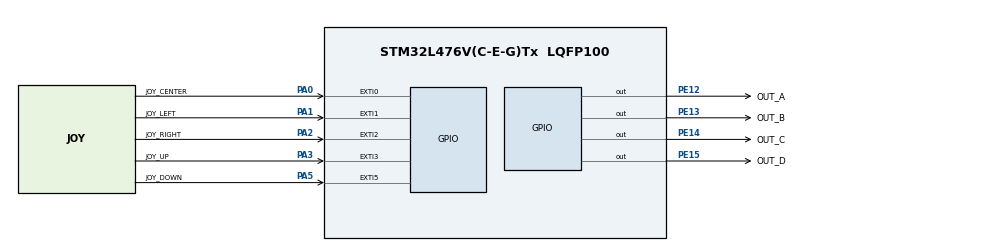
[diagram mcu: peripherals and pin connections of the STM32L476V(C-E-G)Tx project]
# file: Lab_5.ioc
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Mcu.Family=STM32L4
RCC.MSI_VALUE=4000000
PA2.GPIO_PuPd=GPIO_PULLDOWN
RCC.CortexFreq_Value=4000000
PA3.GPIO_PuPd=GPIO_PULLDOWN
PA0.GPIO_Label=JOY_CENTER
NVIC.EXTI3_IRQn=true\:0\:0\:false\:false\:true\:true\:true
PE14.GPIO_Label=OUT_C
ProjectManager.StackSize=0x400
NVIC.EXTI1_IRQn=true\:0\:0\:false\:false\:true\:true\:true
PE15.GPIO_Label=OUT_D
ProjectManager.TargetToolchain=MDK-ARM V5.27
TIM3.Period=8541
RCC.LSE_VALUE=32768
PA1.GPIO_PuPd=GPIO_PULLDOWN
PA1.Signal=GPXTI1
RCC.PREFETCH_ENABLE=1
PA5.Signal=GPXTI5
RCC.HSE_VALUE=8000000
board=STM32L476G-DISCO
RCC.VCOOutputFreq_Value=32000000
NVIC.TIM3_IRQn=true\:0\:0\:false\:false\:true\:true\:true
PE14.Signal=GPIO_Output
PE13.Signal=GPIO_Output
PE15.Signal=GPIO_Output
TIM3.Prescaler=399
PA5.GPIO_PuPd=GPIO_PULLDOWN
PA1.GPIO_Label=JOY_LEFT
Mcu.Name=STM32L476V(C-E-G)Tx
PE12.Signal=GPIO_Output
PA2.Signal=GPXTI2
PA0.Signal=GPXTI0
NVIC.EXTI0_IRQn=true\:0\:0\:false\:false\:true\:true\:true
Mcu.Package=LQFP100
PE13.GPIO_Label=OUT_B
PA5.GPIO_Label=JOY_DOWN
PA2.GPIO_Label=JOY_RIGHT
NVIC.EXTI9_5_IRQn=true\:0\:0\:false\:false\:true\:true\:true
PE12.GPIO_Label=OUT_A
ProjectManager.HeapSize=0x200
RCC.HSI_VALUE=16000000
NVIC.PriorityGroup=NVIC_PRIORITYGROUP_4
NVIC.EXTI2_IRQn=true\:0\:0\:false\:false\:true\:true\:true
VP_TIM3_VS_ClockSourceINT.Mode=Internal
PA3.GPIO_Label=JOY_UP
PA3.Signal=GPXTI3

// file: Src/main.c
/* USER CODE BEGIN Header */
/**
  ******************************************************************************
  * @file           : main.c
  * @brief          : Main program body
  ******************************************************************************
  * @attention
  *
  * <h2><center>&copy; Copyright (c) 2020 STMicroelectronics.
  * All rights reserved.</center></h2>
  *
  * This software component is licensed by ST under BSD 3-Clause license,
  * the "License"; You may not use this file except in compliance with the
  * License. You may obtain a copy of the License at:
  *                        opensource.org/licenses/BSD-3-Clause
  *
  ******************************************************************************
  */
/* USER CODE END Header */
#include "main.h"

/* USER CODE BEGIN Includes */
#include <stdio.h>
/* USER CODE END Includes */

/* USER CODE BEGIN PTD */

typedef enum state{
	CW,
	CW_HALF,
	CCW,
	CCW_HALF
}state ;

/* USER CODE END PTD */

TIM_HandleTypeDef htim3;

/* USER CODE BEGIN PV */
char lcd_buffer[6];
state STATE;						//state
uint16_t phase_count;						//counts cycles

/* USER CODE END PV */

void SystemClock_Config(void);
static void MX_GPIO_Init(void);
static void MX_TIM3_Init(void);
/* USER CODE BEGIN PFP */
void cw_or_ccw_state(void);
void cw_half_or_ccw_half_state(void);
/* USER CODE END PFP */

int main(void)
{

  /* MCU Configuration--------------------------------------------------------*/

  /* Reset of all peripherals, Initializes the Flash interface and the Systick. */
  HAL_Init();

  /* Configure the system clock */
  SystemClock_Config();

  /* Initialize all configured peripherals */
  MX_GPIO_Init();
  MX_TIM3_Init();
  /* USER CODE BEGIN 2 */
	BSP_LCD_GLASS_Init();

	STATE = CW;
	phase_count = 3; 							//start at 3 because increment will make it 0

	HAL_GPIO_WritePin(GPIOE,OUT_A_Pin,GPIO_PIN_RESET);
	HAL_GPIO_WritePin(GPIOE,OUT_B_Pin,GPIO_PIN_RESET);
	HAL_GPIO_WritePin(GPIOE,OUT_C_Pin,GPIO_PIN_RESET);
	HAL_GPIO_WritePin(GPIOE,OUT_D_Pin,GPIO_PIN_RESET);

  /* USER CODE END 2 */

  /* Infinite loop */
  while (1)
  {

  }
}

void SystemClock_Config(void)
{
  RCC_OscInitTypeDef RCC_OscInitStruct = {0};
  RCC_ClkInitTypeDef RCC_ClkInitStruct = {0};

  /** Initializes the RCC Oscillators according to the specified parameters
  * in the RCC_OscInitTypeDef structure.
  */
  RCC_OscInitStruct.OscillatorType = RCC_OSCILLATORTYPE_MSI;
  RCC_OscInitStruct.MSIState = RCC_MSI_ON;
  RCC_OscInitStruct.MSICalibrationValue = 0;
  RCC_OscInitStruct.MSIClockRange = RCC_MSIRANGE_6;
  RCC_OscInitStruct.PLL.PLLState = RCC_PLL_NONE;
  if (HAL_RCC_OscConfig(&RCC_OscInitStruct) != HAL_OK)
  {
    Error_Handler();
  }
  /** Initializes the CPU, AHB and APB buses clocks
  */
  RCC_ClkInitStruct.ClockType = RCC_CLOCKTYPE_HCLK|RCC_CLOCKTYPE_SYSCLK
                              |RCC_CLOCKTYPE_PCLK1|RCC_CLOCKTYPE_PCLK2;
  RCC_ClkInitStruct.SYSCLKSource = RCC_SYSCLKSOURCE_MSI;
  RCC_ClkInitStruct.AHBCLKDivider = RCC_SYSCLK_DIV1;
  RCC_ClkInitStruct.APB1CLKDivider = RCC_HCLK_DIV1;
  RCC_ClkInitStruct.APB2CLKDivider = RCC_HCLK_DIV1;

  if (HAL_RCC_ClockConfig(&RCC_ClkInitStruct, FLASH_LATENCY_0) != HAL_OK)
  {
    Error_Handler();
  }
  /** Configure the main internal regulator output voltage
  */
  if (HAL_PWREx_ControlVoltageScaling(PWR_REGULATOR_VOLTAGE_SCALE1) != HAL_OK)
  {
    Error_Handler();
  }
}

static void MX_TIM3_Init(void)
{

  TIM_ClockConfigTypeDef sClockSourceConfig = {0};
  TIM_MasterConfigTypeDef sMasterConfig = {0};

  htim3.Instance = TIM3;
  htim3.Init.Prescaler = 399;
  htim3.Init.CounterMode = TIM_COUNTERMODE_UP;
  htim3.Init.Period = 8541;
  htim3.Init.ClockDivision = TIM_CLOCKDIVISION_DIV1;
  htim3.Init.AutoReloadPreload = TIM_AUTORELOAD_PRELOAD_ENABLE;
  if (HAL_TIM_Base_Init(&htim3) != HAL_OK)
  {
    Error_Handler();
  }
  sClockSourceConfig.ClockSource = TIM_CLOCKSOURCE_INTERNAL;
  if (HAL_TIM_ConfigClockSource(&htim3, &sClockSourceConfig) != HAL_OK)
  {
    Error_Handler();
  }
  sMasterConfig.MasterOutputTrigger = TIM_TRGO_RESET;
  sMasterConfig.MasterSlaveMode = TIM_MASTERSLAVEMODE_DISABLE;
  if (HAL_TIMEx_MasterConfigSynchronization(&htim3, &sMasterConfig) != HAL_OK)
  {
    Error_Handler();
  }
  /* USER CODE BEGIN TIM3_Init 2 */
	if(HAL_TIM_Base_Start_IT(&htim3) != HAL_OK) {
		 //Starting Error
		Error_Handler();
	}
  /* USER CODE END TIM3_Init 2 */

}

static void MX_GPIO_Init(void)
{
  GPIO_InitTypeDef GPIO_InitStruct = {0};

  /* GPIO Ports Clock Enable */
  __HAL_RCC_GPIOA_CLK_ENABLE();
  __HAL_RCC_GPIOE_CLK_ENABLE();

  /*Configure GPIO pin Output Level */
  HAL_GPIO_WritePin(GPIOE, OUT_A_Pin|OUT_B_Pin|OUT_C_Pin|OUT_D_Pin, GPIO_PIN_RESET);

  /*Configure GPIO pin : JOY_CENTER_Pin */
  GPIO_InitStruct.Pin = JOY_CENTER_Pin;
  GPIO_InitStruct.Mode = GPIO_MODE_IT_RISING;
  GPIO_InitStruct.Pull = GPIO_NOPULL;
  HAL_GPIO_Init(JOY_CENTER_GPIO_Port, &GPIO_InitStruct);

  /*Configure GPIO pins : JOY_LEFT_Pin JOY_RIGHT_Pin JOY_UP_Pin JOY_DOWN_Pin */
  GPIO_InitStruct.Pin = JOY_LEFT_Pin|JOY_RIGHT_Pin|JOY_UP_Pin|JOY_DOWN_Pin;
  GPIO_InitStruct.Mode = GPIO_MODE_IT_RISING;
  GPIO_InitStruct.Pull = GPIO_PULLDOWN;
  HAL_GPIO_Init(GPIOA, &GPIO_InitStruct);

  /*Configure GPIO pins : OUT_A_Pin OUT_B_Pin OUT_C_Pin OUT_D_Pin */
  GPIO_InitStruct.Pin = OUT_A_Pin|OUT_B_Pin|OUT_C_Pin|OUT_D_Pin;
  GPIO_InitStruct.Mode = GPIO_MODE_OUTPUT_PP;
  GPIO_InitStruct.Pull = GPIO_NOPULL;
  GPIO_InitStruct.Speed = GPIO_SPEED_FREQ_LOW;
  HAL_GPIO_Init(GPIOE, &GPIO_InitStruct);

  /* EXTI interrupt init*/
  HAL_NVIC_SetPriority(EXTI0_IRQn, 0, 0);
  HAL_NVIC_EnableIRQ(EXTI0_IRQn);

  HAL_NVIC_SetPriority(EXTI1_IRQn, 0, 0);
  HAL_NVIC_EnableIRQ(EXTI1_IRQn);

  HAL_NVIC_SetPriority(EXTI2_IRQn, 0, 0);
  HAL_NVIC_EnableIRQ(EXTI2_IRQn);

  HAL_NVIC_SetPriority(EXTI3_IRQn, 0, 0);
  HAL_NVIC_EnableIRQ(EXTI3_IRQn);

  HAL_NVIC_SetPriority(EXTI9_5_IRQn, 0, 0);
  HAL_NVIC_EnableIRQ(EXTI9_5_IRQn);

}

/* USER CODE BEGIN 4 */

void HAL_TIM_PeriodElapsedCallback(TIM_HandleTypeDef *htim){
	if ((*htim).Instance==TIM3)	{										//tim3 clock

		switch(STATE){
			case CW:
				phase_count = (phase_count+1)%4;							//count forwards
				cw_or_ccw_state();
				break;

			case CW_HALF:
				phase_count = (phase_count+1)%8;
				cw_half_or_ccw_half_state();
				break;

			case CCW:
				phase_count--;							//count backwards
				if(phase_count>3) phase_count = 3;
				cw_or_ccw_state();
				break;

			case CCW_HALF:
				phase_count--;							//count backwards
				if(phase_count>7) phase_count = 7;
				cw_half_or_ccw_half_state();
				break;

		}

		sprintf(lcd_buffer,"%u",phase_count+1);
		BSP_LCD_GLASS_Clear();
		BSP_LCD_GLASS_DisplayString((uint8_t*)lcd_buffer);					//display phase
	}
}

void HAL_GPIO_EXTI_Callback(uint16_t GPIO_Pin) {							//buffer button pressed
	switch(GPIO_Pin) {

		case GPIO_PIN_0:					//SELECT
			if(STATE==CW) 						STATE = CCW;
			else if(STATE==CCW) 			STATE = CW;
		  else if(STATE==CW_HALF)		STATE = CCW_HALF;
			else if(STATE==CCW_HALF)	STATE = CW_HALF;

			break;

		case GPIO_PIN_1:					//LEFT
			if(STATE==CW) 						STATE = CW_HALF;
			else if(STATE==CW_HALF) 	STATE = CW;
		  else if(STATE==CCW)				STATE = CCW_HALF;
			else if(STATE==CCW_HALF)	STATE = CCW;

			if(STATE == CW || STATE == CCW)  htim3.Init.Period *= 2;									//state changed to CW or CCW, double the period
			else htim3.Init.Period /= 2;																							//state changed to CW_HALF or CCW_HALF, half the period
			if (HAL_TIM_Base_Init(&htim3) != HAL_OK) Error_Handler();

		 break;

		case GPIO_PIN_2:					//RIGHT
			break;

		case GPIO_PIN_3:					//UP
			if(htim3.Init.Period > 1000) htim3.Init.Period -= 1000;										//speed up, decrease period
			if (HAL_TIM_Base_Init(&htim3) != HAL_OK) Error_Handler();
			break;

		case GPIO_PIN_5:					//DOWN
			htim3.Init.Period += 1000;																							//decrease speed, increase period
			if (HAL_TIM_Base_Init(&htim3) != HAL_OK) Error_Handler();
			break;
	}
}

void cw_or_ccw_state(void){																//pin order for CW or CCW

	switch(phase_count){
		case 0:
			HAL_GPIO_WritePin(GPIOE,OUT_A_Pin,GPIO_PIN_SET);					//1
			HAL_GPIO_WritePin(GPIOE,OUT_B_Pin,GPIO_PIN_RESET);
			HAL_GPIO_WritePin(GPIOE,OUT_C_Pin,GPIO_PIN_SET);
			HAL_GPIO_WritePin(GPIOE,OUT_D_Pin,GPIO_PIN_RESET);
			break;
		case 1:
			HAL_GPIO_WritePin(GPIOE,OUT_A_Pin,GPIO_PIN_SET);				//2
			HAL_GPIO_WritePin(GPIOE,OUT_B_Pin,GPIO_PIN_RESET);
			HAL_GPIO_WritePin(GPIOE,OUT_C_Pin,GPIO_PIN_RESET);
			HAL_GPIO_WritePin(GPIOE,OUT_D_Pin,GPIO_PIN_SET);
			break;
		case 2:
			HAL_GPIO_WritePin(GPIOE,OUT_A_Pin,GPIO_PIN_RESET);				//3
			HAL_GPIO_WritePin(GPIOE,OUT_B_Pin,GPIO_PIN_SET);
			HAL_GPIO_WritePin(GPIOE,OUT_C_Pin,GPIO_PIN_RESET);
			HAL_GPIO_WritePin(GPIOE,OUT_D_Pin,GPIO_PIN_SET);
			break;
		case 3:
			HAL_GPIO_WritePin(GPIOE,OUT_A_Pin,GPIO_PIN_RESET);				//4
			HAL_GPIO_WritePin(GPIOE,OUT_B_Pin,GPIO_PIN_SET);
			HAL_GPIO_WritePin(GPIOE,OUT_C_Pin,GPIO_PIN_SET);
			HAL_GPIO_WritePin(GPIOE,OUT_D_Pin,GPIO_PIN_RESET);
			break;
	}
}

void cw_half_or_ccw_half_state(void){																//pin order for CW_HALF or CCW_HALF

	switch(phase_count){
		case 0:
			HAL_GPIO_WritePin(GPIOE,OUT_A_Pin,GPIO_PIN_SET);					//1
			HAL_GPIO_WritePin(GPIOE,OUT_B_Pin,GPIO_PIN_RESET);
			HAL_GPIO_WritePin(GPIOE,OUT_C_Pin,GPIO_PIN_SET);
			HAL_GPIO_WritePin(GPIOE,OUT_D_Pin,GPIO_PIN_RESET);
			break;
		case 1:
			HAL_GPIO_WritePin(GPIOE,OUT_A_Pin,GPIO_PIN_SET);				//2
			HAL_GPIO_WritePin(GPIOE,OUT_B_Pin,GPIO_PIN_RESET);
			HAL_GPIO_WritePin(GPIOE,OUT_C_Pin,GPIO_PIN_RESET);
			HAL_GPIO_WritePin(GPIOE,OUT_D_Pin,GPIO_PIN_RESET);
			break;
		case 2:
			HAL_GPIO_WritePin(GPIOE,OUT_A_Pin,GPIO_PIN_SET);				//3
			HAL_GPIO_WritePin(GPIOE,OUT_B_Pin,GPIO_PIN_RESET);
			HAL_GPIO_WritePin(GPIOE,OUT_C_Pin,GPIO_PIN_RESET);
			HAL_GPIO_WritePin(GPIOE,OUT_D_Pin,GPIO_PIN_SET);
			break;
		case 3:
			HAL_GPIO_WritePin(GPIOE,OUT_A_Pin,GPIO_PIN_RESET);				//4
			HAL_GPIO_WritePin(GPIOE,OUT_B_Pin,GPIO_PIN_RESET);
			HAL_GPIO_WritePin(GPIOE,OUT_C_Pin,GPIO_PIN_RESET);
			HAL_GPIO_WritePin(GPIOE,OUT_D_Pin,GPIO_PIN_SET);
			break;
		case 4:
			HAL_GPIO_WritePin(GPIOE,OUT_A_Pin,GPIO_PIN_RESET);				//5
			HAL_GPIO_WritePin(GPIOE,OUT_B_Pin,GPIO_PIN_SET);
			HAL_GPIO_WritePin(GPIOE,OUT_C_Pin,GPIO_PIN_RESET);
			HAL_GPIO_WritePin(GPIOE,OUT_D_Pin,GPIO_PIN_SET);
			break;
		case 5:
			HAL_GPIO_WritePin(GPIOE,OUT_A_Pin,GPIO_PIN_RESET);				//6
			HAL_GPIO_WritePin(GPIOE,OUT_B_Pin,GPIO_PIN_SET);
			HAL_GPIO_WritePin(GPIOE,OUT_C_Pin,GPIO_PIN_RESET);
			HAL_GPIO_WritePin(GPIOE,OUT_D_Pin,GPIO_PIN_RESET);
			break;
		case 6:
			HAL_GPIO_WritePin(GPIOE,OUT_A_Pin,GPIO_PIN_RESET);				//7
			HAL_GPIO_WritePin(GPIOE,OUT_B_Pin,GPIO_PIN_SET);
			HAL_GPIO_WritePin(GPIOE,OUT_C_Pin,GPIO_PIN_SET);
			HAL_GPIO_WritePin(GPIOE,OUT_D_Pin,GPIO_PIN_RESET);
			break;
		case 7:
			HAL_GPIO_WritePin(GPIOE,OUT_A_Pin,GPIO_PIN_RESET);				//8
			HAL_GPIO_WritePin(GPIOE,OUT_B_Pin,GPIO_PIN_RESET);
			HAL_GPIO_WritePin(GPIOE,OUT_C_Pin,GPIO_PIN_SET);
			HAL_GPIO_WritePin(GPIOE,OUT_D_Pin,GPIO_PIN_RESET);
			break;
	}
}

/* USER CODE END 4 */

void Error_Handler(void)
{
  /* USER CODE BEGIN Error_Handler_Debug */
  /* User can add his own implementation to report the HAL error return state */
	BSP_LCD_GLASS_Clear();
	BSP_LCD_GLASS_DisplayString((uint8_t*)"error");
  /* USER CODE END Error_Handler_Debug */
}

/************************ (C) COPYRIGHT STMicroelectronics *****END OF FILE****/
